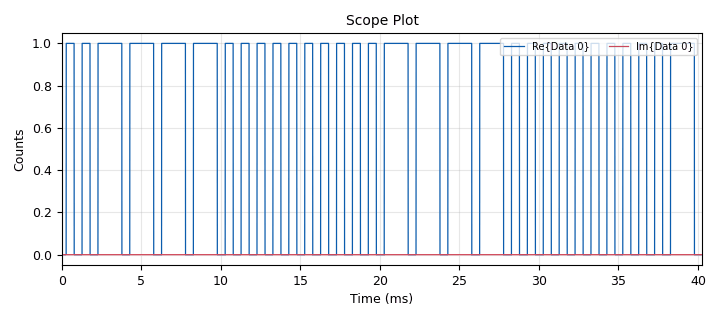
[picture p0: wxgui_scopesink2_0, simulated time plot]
<?xml version='1.0' encoding='utf-8'?>
<flow_graph>
<block>
<key>options</key>
<param><key>id</key><value>top_block</value></param>
<param><key>generate_options</key><value>wx_gui</value></param>
<param><key>category</key><value>Custom</value></param>
</block>
<block>
<key>variable</key>
<param><key>id</key><value>samp_rate</value></param>
<param><key>value</key><value>1e6</value></param>
</block>
<block>
<key>blocks_multiply_const_vxx</key>
<param><key>id</key><value>blocks_multiply_const_vxx_0</value></param>
<param><key>type</key><value>complex</value></param>
<param><key>const</key><value>500e-3</value></param>
</block>
<block>
<key>blocks_repeat</key>
<param><key>id</key><value>blocks_repeat_0</value></param>
<param><key>type</key><value>complex</value></param>
<param><key>interp</key><value>500</value></param>
</block>
<block>
<key>wxgui_scopesink2</key>
<param><key>id</key><value>wxgui_scopesink2_0</value></param>
<param><key>type</key><value>complex</value></param>
<param><key>title</key><value>Scope Plot</value></param>
<param><key>samp_rate</key><value>samp_rate</value></param>
<param><key>v_scale</key><value>0</value></param>
<param><key>v_offset</key><value>0</value></param>
<param><key>t_scale</key><value>10e-3</value></param>
<param><key>ac_couple</key><value>False</value></param>
<param><key>xy_mode</key><value>False</value></param>
<param><key>num_inputs</key><value>1</value></param>
<param><key>trig_mode</key><value>wxgui.TRIG_MODE_AUTO</value></param>
<param><key>y_axis_label</key><value>Counts</value></param>
</block>
<block>
<key>osmosdr_sink</key>
<param><key>id</key><value>osmosdr_sink_0</value></param>
<param><key>type</key><value>fc32</value></param>
<param><key>args</key><value></value></param>
<param><key>sample_rate</key><value>samp_rate</value></param>
<param><key>freq0</key><value>27e6</value></param>
<param><key>gain0</key><value>14</value></param>
<param><key>if_gain0</key><value>40</value></param>
<param><key>bb_gain0</key><value>20</value></param>
</block>
<block>
<key>blocks_vector_source_x</key>
<param><key>id</key><value>blocks_vector_source_x_0</value></param>
<param><key>type</key><value>complex</value></param>
<param><key>vector</key><value>(1,1,1,0,1,1,1,0,1,1,1,0,1,1,1,0,1,0,1,0,1,0,1,0,1,0,1,0,1,0,1,0,1,0,1,0)</value></param>
<param><key>repeat</key><value>True</value></param>
</block>
<connection><source_block_id>blocks_vector_source_x_0</source_block_id><sink_block_id>blocks_repeat_0</sink_block_id><source_key>0</source_key><sink_key>0</sink_key></connection>
<connection><source_block_id>blocks_multiply_const_vxx_0</source_block_id><sink_block_id>osmosdr_sink_0</sink_block_id><source_key>0</source_key><sink_key>0</sink_key></connection>
<connection><source_block_id>blocks_repeat_0</source_block_id><sink_block_id>blocks_multiply_const_vxx_0</sink_block_id><source_key>0</source_key><sink_key>0</sink_key></connection>
<connection><source_block_id>blocks_repeat_0</source_block_id><sink_block_id>wxgui_scopesink2_0</sink_block_id><source_key>0</source_key><sink_key>0</sink_key></connection>
</flow_graph>
